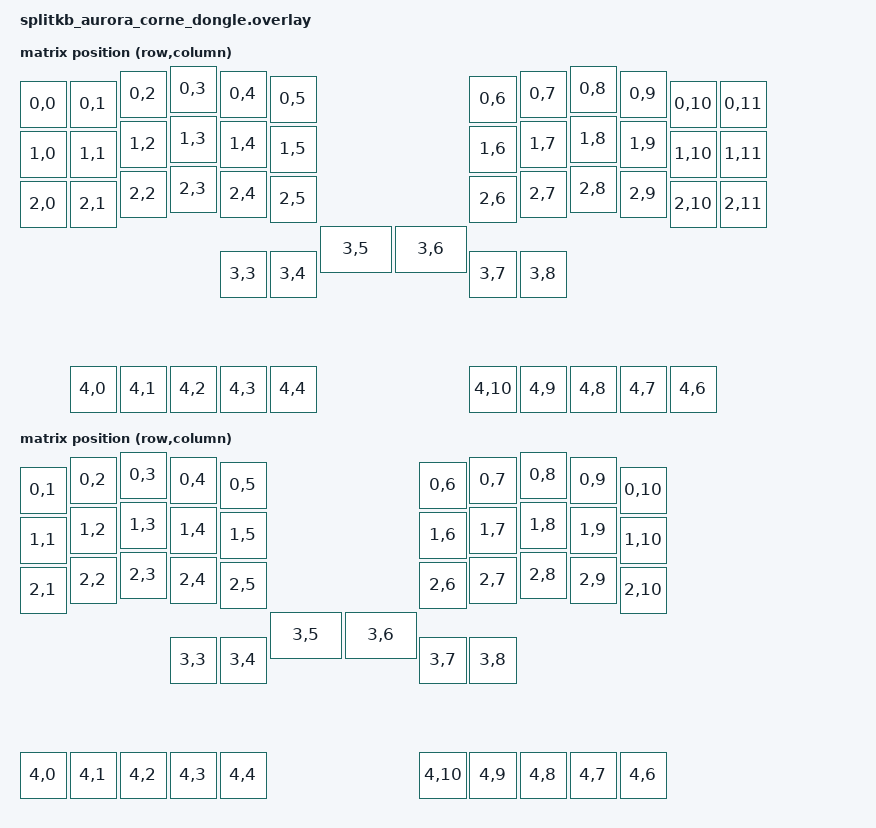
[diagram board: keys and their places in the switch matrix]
/*
 * Copyright (c) 2026 Splitkb.com
 *
 * SPDX-License-Identifier: MIT
 */

#include <physical_layouts.dtsi>
#include <dt-bindings/zmk/matrix_transform.h>

/ {
    chosen {
        zmk,kscan = &mock_kscan;
        zmk,physical-layout = &halcyon_layout;
    };

    mock_kscan: mock_kscan_0 {
        compatible = "zmk,kscan-mock";
        columns = <0>;
        rows = <0>;
        events = <0>;
    };

    halcyon_transform: keymap_transform_0 {
        compatible = "zmk,matrix-transform";
        columns = <12>;
        rows = <5>;
// | SW1  | SW2  | SW3  | SW4  | SW5  | SW6  |   | SW6  | SW5  | SW4  | SW3  | SW2  | SW1  |
// | SW7  | SW8  | SW9  | SW10 | SW11 | SW12 |   | SW12 | SW11 | SW10 | SW9  | SW8  | SW7  |
// | SW13 | SW14 | SW15 | SW16 | SW17 | SW18 |   | SW18 | SW17 | SW16 | SW15 | SW14 | SW13 |
//                      | SW19 | SW20 | SW21 |   | SW21 | SW20 | SW19 |
// | D0   | D1   | D2   | D3   | D4   |                 | D4   | D3   | D2   | D1   | D0   |
        map = <
RC(0,0) RC(0,1) RC(0,2) RC(0,3) RC(0,4) RC(0,5)  RC(0,6) RC(0,7) RC(0,8) RC(0,9) RC(0,10) RC(0,11)
RC(1,0) RC(1,1) RC(1,2) RC(1,3) RC(1,4) RC(1,5)  RC(1,6) RC(1,7) RC(1,8) RC(1,9) RC(1,10) RC(1,11)
RC(2,0) RC(2,1) RC(2,2) RC(2,3) RC(2,4) RC(2,5)  RC(2,6) RC(2,7) RC(2,8) RC(2,9) RC(2,10) RC(2,11)
                        RC(3,3) RC(3,4) RC(3,5)  RC(3,6) RC(3,7) RC(3,8)
RC(4,0) RC(4,1) RC(4,2) RC(4,3) RC(4,4)                  RC(4,10) RC(4,9) RC(4,8) RC(4,7) RC(4,6)
        >;
    };

    five_column_halcyon_transform: keymap_transform_1 {
        compatible = "zmk,matrix-transform";
        columns = <10>;
        rows = <5>;
// | SW2  | SW3  | SW4  | SW5  | SW6  |   | SW6  | SW5  | SW4  | SW3  | SW2  |
// | SW8  | SW9  | SW10 | SW11 | SW12 |   | SW12 | SW11 | SW10 | SW9  | SW8  |
// | SW14 | SW15 | SW16 | SW17 | SW18 |   | SW18 | SW17 | SW16 | SW15 | SW14 |
//               | SW19 | SW20 | SW21 |   | SW21 | SW20 | SW19 |
// | D0   | D1   | D2   | D3   | D4   |   | D4   | D3   | D2   | D1   | D0   |
        map = <
RC(0,1) RC(0,2) RC(0,3) RC(0,4) RC(0,5)  RC(0,6) RC(0,7) RC(0,8) RC(0,9) RC(0,10)
RC(1,1) RC(1,2) RC(1,3) RC(1,4) RC(1,5)  RC(1,6) RC(1,7) RC(1,8) RC(1,9) RC(1,10)
RC(2,1) RC(2,2) RC(2,3) RC(2,4) RC(2,5)  RC(2,6) RC(2,7) RC(2,8) RC(2,9) RC(2,10)
                RC(3,3) RC(3,4) RC(3,5)  RC(3,6) RC(3,7) RC(3,8)
RC(4,0) RC(4,1) RC(4,2) RC(4,3) RC(4,4)  RC(4,10) RC(4,9) RC(4,8) RC(4,7) RC(4,6)
        >;
    };

    left_halcyon_encoder: halcyon_encoder_left {
        status = "disabled";
    };

    right_halcyon_encoder: halcyon_encoder_right {
        status = "disabled";
    };
    
    left_encoder: left_encoder {
        status = "disabled";
    };

    right_encoder: right_encoder {
        status = "disabled";
    };

    sensors: sensors {
        compatible = "zmk,keymap-sensors";
        sensors = <&left_halcyon_encoder &right_halcyon_encoder &left_encoder &right_encoder>;
        triggers-per-rotation = <20>;
    };

    halcyon_layout: halcyon_layout {
        compatible = "zmk,physical-layout";
        display-name = "Halcyon Corne";
        transform = <&halcyon_transform>;

        keys  //                     w   h    x    y     rot    rx    ry
            = <&key_physical_attrs 100 100    0   30       0     0     0>
            , <&key_physical_attrs 100 100  100   30       0     0     0>
            , <&key_physical_attrs 100 100  200   10       0     0     0>
            , <&key_physical_attrs 100 100  300    0       0     0     0>
            , <&key_physical_attrs 100 100  400   10       0     0     0>
            , <&key_physical_attrs 100 100  500   20       0     0     0>
            , <&key_physical_attrs 100 100  900   20       0     0     0>
            , <&key_physical_attrs 100 100 1000   10       0     0     0>
            , <&key_physical_attrs 100 100 1100    0       0     0     0>
            , <&key_physical_attrs 100 100 1200   10       0     0     0>
            , <&key_physical_attrs 100 100 1300   30       0     0     0>
            , <&key_physical_attrs 100 100 1400   30       0     0     0>
            , <&key_physical_attrs 100 100    0  130       0     0     0>
            , <&key_physical_attrs 100 100  100  130       0     0     0>
            , <&key_physical_attrs 100 100  200  110       0     0     0>
            , <&key_physical_attrs 100 100  300  100       0     0     0>
            , <&key_physical_attrs 100 100  400  110       0     0     0>
            , <&key_physical_attrs 100 100  500  120       0     0     0>
            , <&key_physical_attrs 100 100  900  120       0     0     0>
            , <&key_physical_attrs 100 100 1000  110       0     0     0>
            , <&key_physical_attrs 100 100 1100  100       0     0     0>
            , <&key_physical_attrs 100 100 1200  110       0     0     0>
            , <&key_physical_attrs 100 100 1300  130       0     0     0>
            , <&key_physical_attrs 100 100 1400  130       0     0     0>
            , <&key_physical_attrs 100 100    0  230       0     0     0>
            , <&key_physical_attrs 100 100  100  230       0     0     0>
            , <&key_physical_attrs 100 100  200  210       0     0     0>
            , <&key_physical_attrs 100 100  300  200       0     0     0>
            , <&key_physical_attrs 100 100  400  210       0     0     0>
            , <&key_physical_attrs 100 100  500  220       0     0     0>
            , <&key_physical_attrs 100 100  900  220       0     0     0>
            , <&key_physical_attrs 100 100 1000  210       0     0     0>
            , <&key_physical_attrs 100 100 1100  200       0     0     0>
            , <&key_physical_attrs 100 100 1200  210       0     0     0>
            , <&key_physical_attrs 100 100 1300  230       0     0     0>
            , <&key_physical_attrs 100 100 1400  230       0     0     0>
            , <&key_physical_attrs 100 100  400  370       0     0     0>
            , <&key_physical_attrs 100 100  500  370       0     0     0>
            , <&key_physical_attrs 150 100  600  320       0     0     0>
            , <&key_physical_attrs 150 100  750  320       0     0     0>
            , <&key_physical_attrs 100 100  900  370       0     0     0>
            , <&key_physical_attrs 100 100 1000  370       0     0     0>
            , <&key_physical_attrs 100 100  100  600       0     0     0>
            , <&key_physical_attrs 100 100  200  600       0     0     0>
            , <&key_physical_attrs 100 100  300  600       0     0     0>
            , <&key_physical_attrs 100 100  400  600       0     0     0>
            , <&key_physical_attrs 100 100  500  600       0     0     0>
            , <&key_physical_attrs 100 100  900  600       0     0     0>
            , <&key_physical_attrs 100 100 1000  600       0     0     0>
            , <&key_physical_attrs 100 100 1100  600       0     0     0>
            , <&key_physical_attrs 100 100 1200  600       0     0     0>
            , <&key_physical_attrs 100 100 1300  600       0     0     0>
            ;
    };

    halcyon_layout_5col: halcyon_layout_5col {
        compatible = "zmk,physical-layout";
        display-name = "Halcyon Corne 5 Column";
        transform = <&five_column_halcyon_transform>;

        keys  //                     w   h    x    y     rot    rx    ry
            = <&key_physical_attrs 100 100  100   30       0     0     0>
            , <&key_physical_attrs 100 100  200   10       0     0     0>
            , <&key_physical_attrs 100 100  300    0       0     0     0>
            , <&key_physical_attrs 100 100  400   10       0     0     0>
            , <&key_physical_attrs 100 100  500   20       0     0     0>
            , <&key_physical_attrs 100 100  900   20       0     0     0>
            , <&key_physical_attrs 100 100 1000   10       0     0     0>
            , <&key_physical_attrs 100 100 1100    0       0     0     0>
            , <&key_physical_attrs 100 100 1200   10       0     0     0>
            , <&key_physical_attrs 100 100 1300   30       0     0     0>
            , <&key_physical_attrs 100 100  100  130       0     0     0>
            , <&key_physical_attrs 100 100  200  110       0     0     0>
            , <&key_physical_attrs 100 100  300  100       0     0     0>
            , <&key_physical_attrs 100 100  400  110       0     0     0>
            , <&key_physical_attrs 100 100  500  120       0     0     0>
            , <&key_physical_attrs 100 100  900  120       0     0     0>
            , <&key_physical_attrs 100 100 1000  110       0     0     0>
            , <&key_physical_attrs 100 100 1100  100       0     0     0>
            , <&key_physical_attrs 100 100 1200  110       0     0     0>
            , <&key_physical_attrs 100 100 1300  130       0     0     0>
            , <&key_physical_attrs 100 100  100  230       0     0     0>
            , <&key_physical_attrs 100 100  200  210       0     0     0>
            , <&key_physical_attrs 100 100  300  200       0     0     0>
            , <&key_physical_attrs 100 100  400  210       0     0     0>
            , <&key_physical_attrs 100 100  500  220       0     0     0>
            , <&key_physical_attrs 100 100  900  220       0     0     0>
            , <&key_physical_attrs 100 100 1000  210       0     0     0>
            , <&key_physical_attrs 100 100 1100  200       0     0     0>
            , <&key_physical_attrs 100 100 1200  210       0     0     0>
            , <&key_physical_attrs 100 100 1300  230       0     0     0>
            , <&key_physical_attrs 100 100  400  370       0     0     0>
            , <&key_physical_attrs 100 100  500  370       0     0     0>
            , <&key_physical_attrs 150 100  600  320       0     0     0>
            , <&key_physical_attrs 150 100  750  320       0     0     0>
            , <&key_physical_attrs 100 100  900  370       0     0     0>
            , <&key_physical_attrs 100 100 1000  370       0     0     0>
            , <&key_physical_attrs 100 100  100  600       0     0     0>
            , <&key_physical_attrs 100 100  200  600       0     0     0>
            , <&key_physical_attrs 100 100  300  600       0     0     0>
            , <&key_physical_attrs 100 100  400  600       0     0     0>
            , <&key_physical_attrs 100 100  500  600       0     0     0>
            , <&key_physical_attrs 100 100  900  600       0     0     0>
            , <&key_physical_attrs 100 100 1000  600       0     0     0>
            , <&key_physical_attrs 100 100 1100  600       0     0     0>
            , <&key_physical_attrs 100 100 1200  600       0     0     0>
            , <&key_physical_attrs 100 100 1300  600       0     0     0>
            ;
    };
};
